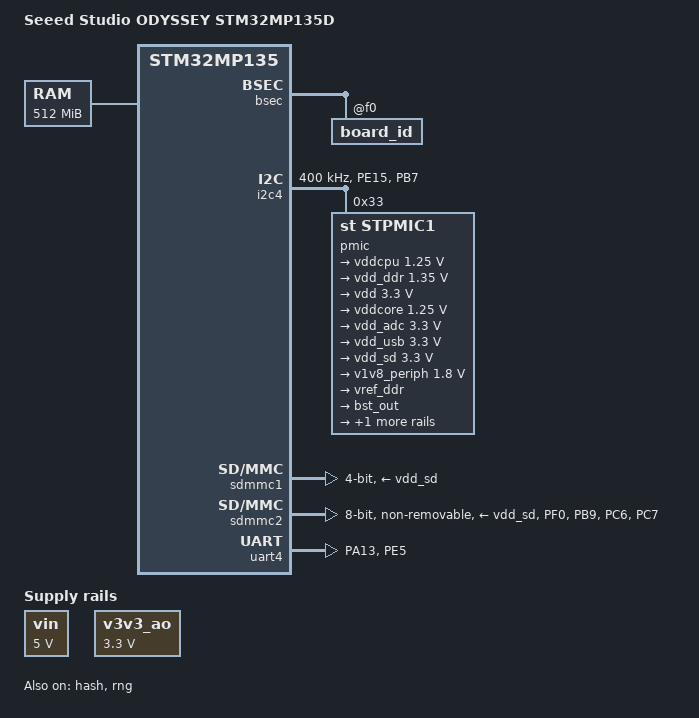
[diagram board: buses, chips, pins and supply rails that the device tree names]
// SPDX-License-Identifier: (GPL-2.0+ OR BSD-3-Clause)
/*
 * Seeed Studio ODYSSEY STM32MP135D TF-A board description for TF-A 2.10.
 *
 * Hardware facts are taken from xogium st-arm-trusted-firmware
 * fdts/stm32mp135d-odyssey.dts at tag v2.8-stm32mp-odyssey-r1.
 * DDR timings are not copied. The board includes the current ST file
 * stm32mp13-ddr3-1x4Gb-1066-binF.dtsi, which is byte-identical to the
 * file that tag included.
 *
 * Pin groups that the current STM32MP13 pinctrl dtsi already defines for
 * the Discovery kit (UART4 on PD6/PD8, I2C4 SDA on PB9) are not reused.
 */

/dts-v1/;

#include <dt-bindings/clock/stm32mp13-clksrc.h>
#include <dt-bindings/pinctrl/stm32-pinfunc.h>
#include "stm32mp135.dtsi"
#include "stm32mp13xd.dtsi"
#include "stm32mp13-ddr3-1x4Gb-1066-binF.dtsi"
#include "stm32mp13-pinctrl.dtsi"

/ {
	model = "Seeed Studio ODYSSEY STM32MP135D";
	compatible = "st,stm32mp135d-odyssey", "st,stm32mp135";

	aliases {
		serial0 = &uart4;
	};

	chosen {
		stdout-path = "serial0:115200n8";
	};

	memory@c0000000 {
		device_type = "memory";
		reg = <0xc0000000 0x20000000>;
	};

	vin: vin {
		compatible = "regulator-fixed";
		regulator-name = "vin";
		regulator-min-microvolt = <5000000>;
		regulator-max-microvolt = <5000000>;
		regulator-always-on;
	};

	v3v3_ao: v3v3_ao {
		compatible = "regulator-fixed";
		regulator-name = "v3v3_ao";
		regulator-min-microvolt = <3300000>;
		regulator-max-microvolt = <3300000>;
		regulator-always-on;
	};
};

&bsec {
	board_id: board_id@f0 {
		reg = <0xf0 0x4>;
		st,non-secure-otp;
	};
};

&cpu0 {
	cpu-supply = <&vddcpu>;
};

&ddr {
	vdd-supply = <&vdd_ddr>;
	vref-supply = <&vref_ddr>;
};

&hash {
	status = "okay";
};

&i2c4 {
	pinctrl-names = "default";
	pinctrl-0 = <&i2c4_pins_odyssey>;
	i2c-scl-rising-time-ns = <185>;
	i2c-scl-falling-time-ns = <20>;
	clock-frequency = <400000>;
	status = "okay";

	pmic: stpmic@33 {
		compatible = "st,stpmic1";
		reg = <0x33>;
		status = "okay";

		regulators {
			compatible = "st,stpmic1-regulators";
			buck1-supply = <&vin>;
			buck2-supply = <&vin>;
			buck3-supply = <&vin>;
			buck4-supply = <&vin>;
			ldo1-supply = <&vin>;
			ldo4-supply = <&vin>;
			ldo5-supply = <&vin>;
			ldo6-supply = <&vin>;
			vref_ddr-supply = <&vin>;
			pwr_sw1-supply = <&bst_out>;
			pwr_sw2-supply = <&v3v3_ao>;

			vddcpu: buck1 {
				regulator-name = "vddcpu";
				regulator-min-microvolt = <1250000>;
				regulator-max-microvolt = <1250000>;
				regulator-always-on;
				regulator-over-current-protection;
			};

			vdd_ddr: buck2 {
				regulator-name = "vdd_ddr";
				regulator-min-microvolt = <1350000>;
				regulator-max-microvolt = <1350000>;
				regulator-always-on;
				regulator-over-current-protection;
			};

			vdd: buck3 {
				regulator-name = "vdd";
				regulator-min-microvolt = <3300000>;
				regulator-max-microvolt = <3300000>;
				regulator-always-on;
				st,mask-reset;
				regulator-over-current-protection;
			};

			vddcore: buck4 {
				regulator-name = "vddcore";
				regulator-min-microvolt = <1250000>;
				regulator-max-microvolt = <1250000>;
				regulator-always-on;
				regulator-over-current-protection;
			};

			vdd_adc: ldo1 {
				regulator-name = "vdd_adc";
				regulator-min-microvolt = <3300000>;
				regulator-max-microvolt = <3300000>;
			};

			vdd_usb: ldo4 {
				regulator-name = "vdd_usb";
				regulator-min-microvolt = <3300000>;
				regulator-max-microvolt = <3300000>;
			};

			vdd_sd: ldo5 {
				regulator-name = "vdd_sd";
				regulator-min-microvolt = <3300000>;
				regulator-max-microvolt = <3300000>;
				regulator-boot-on;
			};

			v1v8_periph: ldo6 {
				regulator-name = "v1v8_periph";
				regulator-min-microvolt = <1800000>;
				regulator-max-microvolt = <1800000>;
			};

			vref_ddr: vref_ddr {
				regulator-name = "vref_ddr";
				regulator-always-on;
			};

			bst_out: boost {
				regulator-name = "bst_out";
			};

			v3v3_sw: pwr_sw2 {
				regulator-name = "v3v3_sw";
				regulator-active-discharge = <1>;
				regulator-always-on;
			};
		};
	};
};

/*
 * v0.1.0 development BSP configuration: IWDG2 is disabled.
 * This is not a production watchdog policy. Device tree status does not
 * override a watchdog forced on by BootROM or option bytes. This file
 * does not program OTP or fuses.
 */
&iwdg2 {
	status = "disabled";
};

&pwr_regulators {
	vdd-supply = <&vdd>;
	vdd_3v3_usbfs-supply = <&vdd_usb>;
};

&rcc {
	st,clksrc = <
		CLK_MPU_PLL1P
		CLK_AXI_PLL2P
		CLK_MLAHBS_PLL3
		CLK_CKPER_HSE
		CLK_RTC_LSE
		CLK_SDMMC1_PLL4P
		CLK_SDMMC2_PLL4P
		CLK_STGEN_HSE
		CLK_USBPHY_HSE
		CLK_I2C4_HSI
		CLK_USBO_USBPHY
		CLK_I2C12_HSI
		CLK_UART2_HSI
		CLK_UART4_HSI
		CLK_SAES_AXI
	>;

	st,clkdiv = <
		DIV(DIV_AXI, 0)
		DIV(DIV_MLAHB, 0)
		DIV(DIV_APB1, 1)
		DIV(DIV_APB2, 1)
		DIV(DIV_APB3, 1)
		DIV(DIV_APB4, 1)
		DIV(DIV_APB5, 2)
		DIV(DIV_APB6, 1)
		DIV(DIV_RTC, 0)
	>;

	st,pll_vco {
		pll1_vco_1300Mhz: pll1-vco-1300Mhz {
			src = < CLK_PLL12_HSE >;
			divmn = < 2 80 >;
			frac = < 0x800 >;
		};

		pll2_vco_1066Mhz: pll2-vco-1066Mhz {
			src = < CLK_PLL12_HSE >;
			divmn = < 2 65 >;
			frac = < 0x1400 >;
		};

		pll3_vco_417_8Mhz: pll3-vco-417_8Mhz {
			src = < CLK_PLL3_HSE >;
			divmn = < 1 33 >;
			frac = < 0x1a04 >;
		};

		pll4_vco_600Mhz: pll4-vco-600Mhz {
			src = < CLK_PLL4_HSE >;
			divmn = < 1 49 >;
		};
	};

	/* VCO = 1300.0 MHz => P = 650 (CPU) */
	pll1:st,pll@0 {
		compatible = "st,stm32mp1-pll";
		reg = <0>;
		st,pll = < &pll1_cfg1 >;

		pll1_cfg1: pll1_cfg1 {
			st,pll_vco = < &pll1_vco_1300Mhz >;
			st,pll_div_pqr = < 0 1 1 >;
		};
	};

	/* VCO = 1066.0 MHz => P = 266 (AXI), Q = 266, R = 533 (DDR) */
	pll2:st,pll@1 {
		compatible = "st,stm32mp1-pll";
		reg = <1>;
		st,pll = < &pll2_cfg1 >;

		pll2_cfg1: pll2_cfg1 {
			st,pll_vco = < &pll2_vco_1066Mhz >;
			st,pll_div_pqr = < 1 1 0 >;
		};
	};

	/* VCO = 417.8 MHz => P = 209, Q = 24, R = 209 */
	pll3:st,pll@2 {
		compatible = "st,stm32mp1-pll";
		reg = <2>;
		st,pll = < &pll3_cfg1 >;

		pll3_cfg1: pll3_cfg1 {
			st,pll_vco = < &pll3_vco_417_8Mhz >;
			st,pll_div_pqr = < 1 16 1 >;
		};
	};

	/* VCO = 600.0 MHz => P = 50, Q = 10, R = 100 */
	pll4:st,pll@3 {
		compatible = "st,stm32mp1-pll";
		reg = <3>;
		st,pll = < &pll4_cfg1 >;

		pll4_cfg1: pll4_cfg1 {
			st,pll_vco = < &pll4_vco_600Mhz >;
			st,pll_div_pqr = < 11 59 5 >;
		};
	};
};

&rng {
	status = "okay";
};

&sdmmc1 {
	pinctrl-names = "default";
	pinctrl-0 = <&sdmmc1_b4_pins_a &sdmmc1_clk_pins_a>;
	disable-wp;
	st,neg-edge;
	bus-width = <4>;
	vmmc-supply = <&vdd_sd>;
	status = "okay";
};

&sdmmc2 {
	pinctrl-names = "default";
	pinctrl-0 = <&sdmmc2_b4_pins_a &sdmmc2_clk_pins_a &sdmmc2_d47_pins_a>;
	non-removable;
	st,neg-edge;
	bus-width = <8>;
	vmmc-supply = <&vdd_sd>;
	vqmmc-supply = <&vdd_sd>;
	no-sd;
	no-sdio;
	mmc-ddr-3_3v;
	no-1-8-v;
	status = "okay";
};

&uart4 {
	pinctrl-names = "default";
	pinctrl-0 = <&uart4_pins_odyssey>;
	status = "okay";
};

&uart8 {
	status = "disabled";
};

&usart1 {
	status = "disabled";
};

&pinctrl {
	i2c4_pins_odyssey: i2c4-odyssey {
		pins {
			pinmux = <STM32_PINMUX('E', 15, AF6)>, /* I2C4_SCL */
				 <STM32_PINMUX('B', 7, AF6)>; /* I2C4_SDA */
			bias-disable;
			drive-open-drain;
			slew-rate = <0>;
		};
	};

	sdmmc2_d47_pins_a: sdmmc2-d47-0 {
		pins {
			pinmux = <STM32_PINMUX('F', 0, AF10)>, /* SDMMC2_D4 */
				 <STM32_PINMUX('B', 9, AF10)>, /* SDMMC2_D5 */
				 <STM32_PINMUX('C', 6, AF10)>, /* SDMMC2_D6 */
				 <STM32_PINMUX('C', 7, AF10)>; /* SDMMC2_D7 */
			slew-rate = <1>;
			drive-push-pull;
			bias-pull-up;
		};
	};

	uart4_pins_odyssey: uart4-odyssey {
		pins1 {
			pinmux = <STM32_PINMUX('A', 13, AF8)>; /* UART4_TX */
			bias-disable;
			drive-push-pull;
			slew-rate = <0>;
		};
		pins2 {
			pinmux = <STM32_PINMUX('E', 5, AF8)>; /* UART4_RX */
			bias-disable;
		};
	};
};
